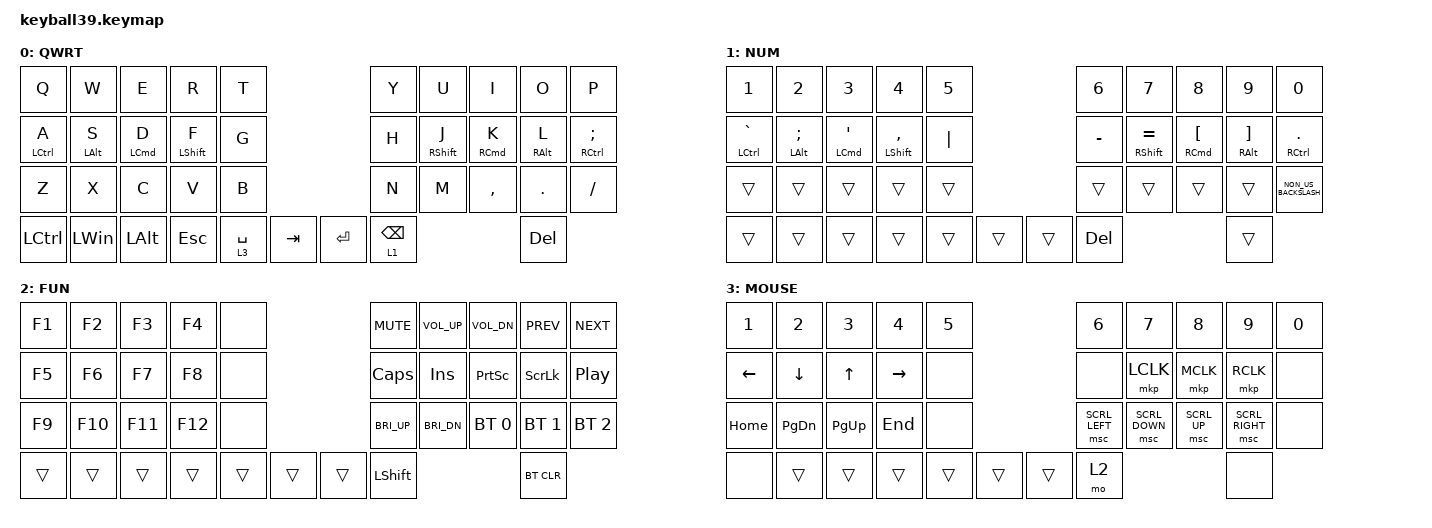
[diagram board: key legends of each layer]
#include <behaviors.dtsi>
#include <dt-bindings/zmk/keys.h>
#include <dt-bindings/zmk/bt.h>
#include <dt-bindings/zmk/mouse.h>
#include <behaviors/mouse_keys.dtsi>

#define DEFAULT 0
#define NUM     1
#define FUN     2
#define MOUSE   3

&lt {
    tapping-term-ms = <240>;
    flavor = "balanced";
    quick-tap-ms = <150>;
};

&mt {
    tapping-term-ms = <200>;
    flavor = "tap-preferred";
    quick-tap-ms = <150>;
};

&caps_word { continue-list = <UNDERSCORE MINUS>; };

/ {
    // custom shift using mod-morph 

    behaviors {
        cmqus: comma_question {
            compatible = "zmk,behavior-mod-morph";
            label = "COMMA_QUESTION";
            #binding-cells = <0>;
            bindings = <&kp COMMA>, <&kp QUESTION>;

            mods = <(MOD_LSFT|MOD_RSFT)>;
        };

        dtsmi: dot_semi {
            compatible = "zmk,behavior-mod-morph";
            label = "DOT_SEMI";
            #binding-cells = <0>;
            bindings = <&kp DOT>, <&kp SEMI>;

            mods = <(MOD_LSFT|MOD_RSFT)>;
        };
    };

    macros {
        Hiragana: Hiragana {
            compatible = "zmk,behavior-macro";
            #binding-cells = <0>;
            bindings = <&kp LC(SPACE)>;
            label = "HIRAGANA";
        };
    };

    keymap {
        compatible = "zmk,keymap";

        default_layer {
            label = "QWRT";
            bindings = <
&kp Q      &kp W         &kp E     &kp R         &kp T                                    &kp Y            &kp U  &kp I      &kp O    &kp P
&mt LCTRL A &mt LALT S   &mt LCMD D &mt LSHFT F  &kp G                                    &kp H            &mt RSHFT J &mt RCMD K &mt RALT L &mt RCTRL SEMI
&kp Z      &kp X         &kp C     &kp V         &kp B                                    &kp N            &kp M  &kp COMMA  &kp DOT  &kp SLASH
&kp LCTRL  &kp LEFT_WIN  &kp LALT  &kp ESCAPE   &lt 3 SPACE  &kp TAB    &kp ENTER  &lt 1 BACKSPACE                             &kp DELETE
            >;
        };

        number_layer {
            label = "NUM";
            bindings = <
&kp N1           &kp N2        &kp N3        &kp N4        &kp N5                       &kp N6          &kp N7         &kp N8            &kp N9                    &kp N0
&mt LCTRL GRAVE  &mt LALT SEMI &mt LCMD SQT  &mt LSHFT COMMA &kp PIPE                   &kp MINUS       &mt RSHFT EQUAL &mt RCMD LEFT_BRACKET &mt RALT RIGHT_BRACKET &mt RCTRL DOT
&trans           &trans        &trans        &trans        &trans                       &trans          &trans         &trans            &trans                &kp NON_US_BACKSLASH
&trans           &trans        &trans        &trans        &trans        &trans  &trans  &kp DELETE                                                             &trans
            >;
        };

        function_layer {
            label = "FUN";
            bindings = <
&kp F1  &kp F2   &kp F3   &kp F4   &none                   &kp C_MUTE     &kp C_VOL_UP   &kp C_VOL_DN   &kp C_PREV     &kp C_NEXT
&kp F5  &kp F6   &kp F7   &kp F8   &none                   &kp CAPS       &kp INSERT     &kp PSCRN      &kp SLCK       &kp C_PP
&kp F9  &kp F10  &kp F11  &kp F12  &none                   &kp C_BRI_UP   &kp C_BRI_DN   &bt BT_SEL 0   &bt BT_SEL 1   &bt BT_SEL 2
&trans  &trans   &trans   &trans   &trans  &trans  &trans  &kp LSHFT                                                 &bt BT_CLR
            >;
        };

        mouse_layer {
            label = "MOUSE";
            bindings = <
&kp N1          &kp N2          &kp N3        &kp N4     &kp N5                  &kp N6         &kp N7         &kp N8        &kp N9          &kp N0
&kp LEFT_ARROW  &kp DOWN_ARROW  &kp UP_ARROW  &kp RIGHT  &none                   &none          &mkp LCLK      &mkp MCLK     &mkp RCLK       &none
&kp HOME        &kp PAGE_DOWN   &kp PAGE_UP   &kp END    &none                   &msc SCRL_LEFT &msc SCRL_DOWN &msc SCRL_UP  &msc SCRL_RIGHT &none
&none           &trans          &trans        &trans     &trans  &trans  &trans  &mo 2                                                     &none
            >;
        };
    };
};

